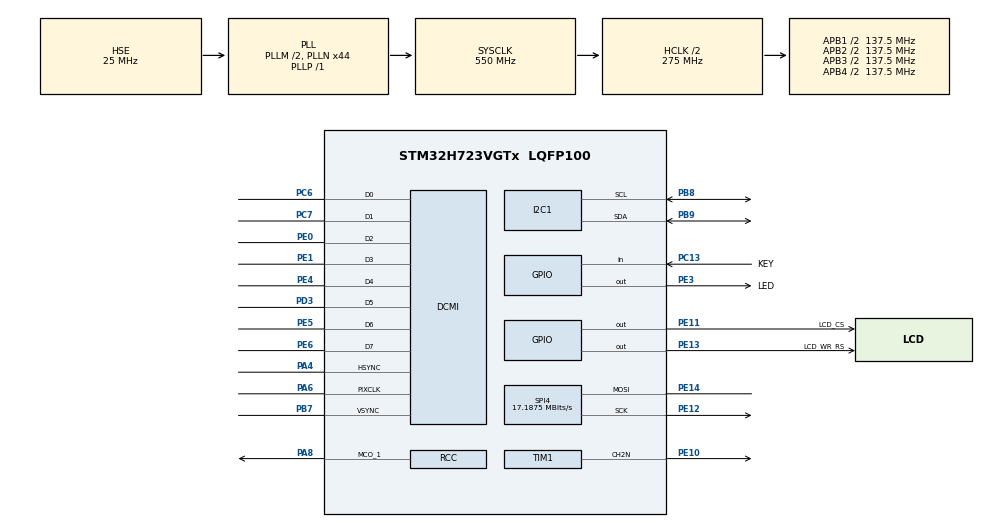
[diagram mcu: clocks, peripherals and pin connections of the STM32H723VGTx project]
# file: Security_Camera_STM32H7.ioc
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CORTEX_M7.CPU_DCache=Disabled
CORTEX_M7.CPU_ICache=Disabled
CORTEX_M7.MPU_Control=__NULL
DCMI.CaptureRate=DCMI_CR_ALL_FRAME
DCMI.PCKPolarity=DCMI_PCKPOLARITY_RISING
Dma.DCMI.0.Direction=DMA_PERIPH_TO_MEMORY
Dma.DCMI.0.EventEnable=DISABLE
Dma.DCMI.0.FIFOMode=DMA_FIFOMODE_DISABLE
Dma.DCMI.0.Instance=DMA1_Stream0
Dma.DCMI.0.MemDataAlignment=DMA_MDATAALIGN_WORD
Dma.DCMI.0.MemInc=DMA_MINC_ENABLE
Dma.DCMI.0.Mode=DMA_CIRCULAR
Dma.DCMI.0.PeriphDataAlignment=DMA_PDATAALIGN_WORD
Dma.DCMI.0.PeriphInc=DMA_PINC_DISABLE
Dma.DCMI.0.Polarity=HAL_DMAMUX_REQ_GEN_RISING
Dma.DCMI.0.Priority=DMA_PRIORITY_MEDIUM
Dma.DCMI.0.RequestNumber=1
Dma.DCMI.0.SignalID=NONE
Dma.DCMI.0.SyncEnable=DISABLE
Dma.DCMI.0.SyncPolarity=HAL_DMAMUX_SYNC_NO_EVENT
Dma.DCMI.0.SyncRequestNumber=1
Dma.DCMI.0.SyncSignalID=NONE
Dma.Request0=DCMI
I2C1.Timing=0x60404E72
Mcu.Family=STM32H7
Mcu.Name=STM32H723VGTx
Mcu.Package=LQFP100
NVIC.DCMI_PSSI_IRQn=true\:0\:0\:false\:false\:true\:true\:true\:true
NVIC.DMA1_Stream0_IRQn=true\:0\:0\:false\:false\:true\:false\:true\:true
NVIC.PriorityGroup=NVIC_PRIORITYGROUP_4
PA13(JTMS/SWDIO).Mode=Serial_Wire
PA13(JTMS/SWDIO).Signal=DEBUG_JTMS-SWDIO
PA14(JTCK/SWCLK).Mode=Serial_Wire
PA14(JTCK/SWCLK).Signal=DEBUG_JTCK-SWCLK
PA4.Mode=Slave_8_bits_External_Synchro
PA4.Signal=DCMI_HSYNC
PA6.Mode=Slave_8_bits_External_Synchro
PA6.Signal=DCMI_PIXCLK
PA8.Mode=Clock-out-1
PA8.Signal=RCC_MCO_1
PB7.Mode=Slave_8_bits_External_Synchro
PB7.Signal=DCMI_VSYNC
PB8.Mode=I2C
PB8.Signal=I2C1_SCL
PB9.Mode=I2C
PB9.Signal=I2C1_SDA
PC13.GPIO_Label=KEY
PC13.Signal=GPIO_Input
PC14-OSC32_IN.Mode=LSE-External-Oscillator
PC14-OSC32_IN.Signal=RCC_OSC32_IN
PC15-OSC32_OUT.Mode=LSE-External-Oscillator
PC15-OSC32_OUT.Signal=RCC_OSC32_OUT
PC6.Mode=Slave_8_bits_External_Synchro
PC6.Signal=DCMI_D0
PC7.Mode=Slave_8_bits_External_Synchro
PC7.Signal=DCMI_D1
PD3.Mode=Slave_8_bits_External_Synchro
PD3.Signal=DCMI_D5
PE0.Mode=Slave_8_bits_External_Synchro
PE0.Signal=DCMI_D2
PE1.Mode=Slave_8_bits_External_Synchro
PE1.Signal=DCMI_D3
PE10.Mode=PWM Generation2 CH2N
PE10.Signal=TIM1_CH2N
PE11.GPIO_Label=LCD_CS
PE11.GPIO_Speed=GPIO_SPEED_FREQ_MEDIUM
PE11.Signal=GPIO_Output
PE12.GPIO_Speed=GPIO_SPEED_FREQ_MEDIUM
PE12.Mode=Simplex_Bidirectional_Master
PE12.Signal=SPI4_SCK
PE13.GPIO_Label=LCD_WR_RS
PE13.GPIO_Speed=GPIO_SPEED_FREQ_MEDIUM
PE13.Signal=GPIO_Output
PE14.GPIO_Speed=GPIO_SPEED_FREQ_MEDIUM
PE14.Mode=Simplex_Bidirectional_Master
PE14.Signal=SPI4_MOSI
PE3.GPIO_Label=LED
PE3.Signal=GPIO_Output
PE4.Mode=Slave_8_bits_External_Synchro
PE4.Signal=DCMI_D4
PE5.Mode=Slave_8_bits_External_Synchro
PE5.Signal=DCMI_D6
PE6.Mode=Slave_8_bits_External_Synchro
PE6.Signal=DCMI_D7
PH0-OSC_IN.Mode=HSE-External-Oscillator
PH0-OSC_IN.Signal=RCC_OSC_IN
PH1-OSC_OUT.Mode=HSE-External-Oscillator
PH1-OSC_OUT.Signal=RCC_OSC_OUT
ProjectManager.HeapSize=0x200
ProjectManager.StackSize=0x400
ProjectManager.TargetToolchain=STM32CubeIDE
RCC.ADCFreq_Value=50390625
RCC.APB1Freq_Value=137500000
RCC.APB2Freq_Value=137500000
RCC.APB3Freq_Value=137500000
RCC.APB4Freq_Value=137500000
RCC.CortexFreq_Value=550000000
RCC.D1PPRE=RCC_APB3_DIV2
RCC.D2PPRE1=RCC_APB1_DIV2
RCC.D2PPRE2=RCC_APB2_DIV2
RCC.D3PPRE=RCC_APB4_DIV2
RCC.DIVM1=2
RCC.DIVN1=44
RCC.DIVP1=1
RCC.DIVQ1=46
RCC.HCLKFreq_Value=275000000
RCC.HPRE=RCC_HCLK_DIV2
RCC.PLLFRACN=0
RCC.PLLSourceVirtual=RCC_PLLSOURCE_HSE
RCC.RCC_MCO1Source=RCC_MCO1SOURCE_HSI48
RCC.RCC_MCODiv1=RCC_MCODIV_4
RCC.RTCClockSelection=RCC_RTCCLKSOURCE_LSE
RCC.SYSCLKFreq_VALUE=550000000
RCC.SYSCLKSource=RCC_SYSCLKSOURCE_PLLCLK
RCC.USBFreq_Value=11956521.739130436
SPI4.BaudRatePrescaler=SPI_BAUDRATEPRESCALER_8
SPI4.CalculateBaudRate=17.1875 MBits/s
SPI4.DataSize=SPI_DATASIZE_8BIT
SPI4.Direction=SPI_DIRECTION_1LINE
SPI4.Mode=SPI_MODE_MASTER
SPI4.VirtualType=VM_MASTER
TIM1.Channel-PWM\ Generation2\ CH2N=TIM_CHANNEL_2
TIM1.OCNPolarity_2=TIM_OCNPOLARITY_LOW
TIM1.Period=1000-1
TIM1.Prescaler=14-1
VP_MEMORYMAP_VS_MEMORYMAP.Mode=CurAppReg
VP_RTC_VS_RTC_Activate.Mode=RTC_Enabled
VP_RTC_VS_RTC_Calendar.Mode=RTC_Calendar
board=custom

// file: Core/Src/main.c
/* USER CODE BEGIN Header */

/*---------------------------------------
- WeAct Studio Official Link
- taobao: weactstudio.taobao.com
- aliexpress: weactstudio.aliexpress.com
- github: github.com/WeActTC
- gitee: gitee.com/WeAct-TC
- blog: www.weact-tc.cn
---------------------------------------*/

/**
  ******************************************************************************
  * @file           : main.c
  * @brief          : Main program body
  ******************************************************************************
  * @attention
  *
  * Copyright (c) 2023 STMicroelectronics.
  * All rights reserved.
  *
  * This software is licensed under terms that can be found in the LICENSE file
  * in the root directory of this software component.
  * If no LICENSE file comes with this software, it is provided AS-IS.
  *
  ******************************************************************************
  */
/* USER CODE END Header */
#include "main.h"
#include "dcmi.h"
#include "dma.h"
#include "i2c.h"
#include "rtc.h"
#include "spi.h"
#include "tim.h"
#include "gpio.h"

/* USER CODE BEGIN Includes */
#include "menu.h"
/* USER CODE END Includes */

/* USER CODE BEGIN PV */
#ifdef TFT96
// QQVGA
#define FrameWidth 160
#define FrameHeight 120
#elif TFT18
// QQVGA2
#define FrameWidth 128
#define FrameHeight 160
#endif
// picture buffer
uint16_t pic[FrameWidth][FrameHeight];
volatile uint32_t DCMI_FrameIsReady = 0;
uint32_t Camera_FPS=0;
/* USER CODE END PV */

void SystemClock_Config(void);

/* USER CODE BEGIN 0 */
static void CPU_CACHE_Enable(void)
{
  /* Enable I-Cache */
  SCB_EnableICache();

  /* Enable D-Cache */
  SCB_EnableDCache();
}

static void MPU_Config(void)
{
  MPU_Region_InitTypeDef MPU_InitStruct = {0};

  /* Disables the MPU */
  HAL_MPU_Disable();

  /* Configure the MPU attributes for the QSPI 256MB without instruction access */
  MPU_InitStruct.Enable           = MPU_REGION_ENABLE;
  MPU_InitStruct.Number           = MPU_REGION_NUMBER0;
  MPU_InitStruct.BaseAddress      = OCTOSPI1_BASE;
  MPU_InitStruct.Size             = MPU_REGION_SIZE_256MB;
  MPU_InitStruct.AccessPermission = MPU_REGION_NO_ACCESS;
  MPU_InitStruct.IsBufferable     = MPU_ACCESS_NOT_BUFFERABLE;
  MPU_InitStruct.IsCacheable      = MPU_ACCESS_NOT_CACHEABLE;
  MPU_InitStruct.IsShareable      = MPU_ACCESS_NOT_SHAREABLE;
  MPU_InitStruct.DisableExec      = MPU_INSTRUCTION_ACCESS_DISABLE;
  MPU_InitStruct.TypeExtField     = MPU_TEX_LEVEL1;
  MPU_InitStruct.SubRegionDisable = 0x00;
  HAL_MPU_ConfigRegion(&MPU_InitStruct);

  /* Configure the MPU attributes for the QSPI 8MB (QSPI Flash Size) to Cacheable WT */
  MPU_InitStruct.Enable           = MPU_REGION_ENABLE;
  MPU_InitStruct.Number           = MPU_REGION_NUMBER1;
  MPU_InitStruct.BaseAddress      = OCTOSPI1_BASE;
  MPU_InitStruct.Size             = MPU_REGION_SIZE_8MB;
  MPU_InitStruct.AccessPermission = MPU_REGION_PRIV_RO;
  MPU_InitStruct.IsBufferable     = MPU_ACCESS_BUFFERABLE;
  MPU_InitStruct.IsCacheable      = MPU_ACCESS_CACHEABLE;
  MPU_InitStruct.IsShareable      = MPU_ACCESS_NOT_SHAREABLE;
  MPU_InitStruct.DisableExec      = MPU_INSTRUCTION_ACCESS_ENABLE;
  MPU_InitStruct.TypeExtField     = MPU_TEX_LEVEL1;
  MPU_InitStruct.SubRegionDisable = 0x00;
  HAL_MPU_ConfigRegion(&MPU_InitStruct);

  /* Setup AXI SRAM in Cacheable WB */
  MPU_InitStruct.Enable           = MPU_REGION_ENABLE;
  MPU_InitStruct.BaseAddress      = D1_AXISRAM_BASE;
  MPU_InitStruct.Size             = MPU_REGION_SIZE_512KB;
  MPU_InitStruct.AccessPermission = MPU_REGION_FULL_ACCESS;
  MPU_InitStruct.IsBufferable     = MPU_ACCESS_BUFFERABLE;
  MPU_InitStruct.IsCacheable      = MPU_ACCESS_CACHEABLE;
  MPU_InitStruct.IsShareable      = MPU_ACCESS_SHAREABLE;
  MPU_InitStruct.Number           = MPU_REGION_NUMBER2;
  MPU_InitStruct.TypeExtField     = MPU_TEX_LEVEL1;
  MPU_InitStruct.SubRegionDisable = 0x00;
  MPU_InitStruct.DisableExec      = MPU_INSTRUCTION_ACCESS_ENABLE;
  HAL_MPU_ConfigRegion(&MPU_InitStruct);

  /* Enables the MPU */
  HAL_MPU_Enable(MPU_PRIVILEGED_DEFAULT);
}
/* USER CODE END 0 */

int main(void)
{

  /* USER CODE BEGIN 1 */
  MPU_Config();
  /* USER CODE END 1 */

  /* MCU Configuration--------------------------------------------------------*/

  /* Reset of all peripherals, Initializes the Flash interface and the Systick. */
  HAL_Init();

  /* Configure the system clock */
  SystemClock_Config();

  /* USER CODE BEGIN SysInit */
  CPU_CACHE_Enable();

  /* USER CODE END SysInit */

  /* Initialize all configured peripherals */
  MX_GPIO_Init();
  MX_DMA_Init();
  MX_DCMI_Init();
  MX_I2C1_Init();
  MX_RTC_Init();
  MX_SPI4_Init();
  MX_TIM1_Init();
  /* USER CODE BEGIN 2 */
  //board_button_init();
  //board_led_init();
  Menu_InitWrapper();
  /* USER CODE END 2 */

  /* Infinite loop */
  /* USER CODE BEGIN WHILE */
  while (1)
  {
	  Menu_Loop();
    /* USER CODE END WHILE */

    }
  }

void SystemClock_Config(void)
{
  RCC_OscInitTypeDef RCC_OscInitStruct = {0};
  RCC_ClkInitTypeDef RCC_ClkInitStruct = {0};

  /** Supply configuration update enable
  */
  HAL_PWREx_ConfigSupply(PWR_LDO_SUPPLY);

  /** Configure the main internal regulator output voltage
  */
  __HAL_PWR_VOLTAGESCALING_CONFIG(PWR_REGULATOR_VOLTAGE_SCALE0);

  while(!__HAL_PWR_GET_FLAG(PWR_FLAG_VOSRDY)) {}

  /** Configure LSE Drive Capability
  */
  HAL_PWR_EnableBkUpAccess();
  __HAL_RCC_LSEDRIVE_CONFIG(RCC_LSEDRIVE_LOW);

  /** Initializes the RCC Oscillators according to the specified parameters
  * in the RCC_OscInitTypeDef structure.
  */
  RCC_OscInitStruct.OscillatorType = RCC_OSCILLATORTYPE_HSI48|RCC_OSCILLATORTYPE_HSE
                              |RCC_OSCILLATORTYPE_LSE;
  RCC_OscInitStruct.HSEState = RCC_HSE_ON;
  RCC_OscInitStruct.LSEState = RCC_LSE_ON;
  RCC_OscInitStruct.HSI48State = RCC_HSI48_ON;
  RCC_OscInitStruct.PLL.PLLState = RCC_PLL_ON;
  RCC_OscInitStruct.PLL.PLLSource = RCC_PLLSOURCE_HSE;
  RCC_OscInitStruct.PLL.PLLM = 2;
  RCC_OscInitStruct.PLL.PLLN = 44;
  RCC_OscInitStruct.PLL.PLLP = 1;
  RCC_OscInitStruct.PLL.PLLQ = 46;
  RCC_OscInitStruct.PLL.PLLR = 2;
  RCC_OscInitStruct.PLL.PLLRGE = RCC_PLL1VCIRANGE_3;
  RCC_OscInitStruct.PLL.PLLVCOSEL = RCC_PLL1VCOWIDE;
  RCC_OscInitStruct.PLL.PLLFRACN = 0;
  if (HAL_RCC_OscConfig(&RCC_OscInitStruct) != HAL_OK)
  {
    Error_Handler();
  }

  /** Initializes the CPU, AHB and APB buses clocks
  */
  RCC_ClkInitStruct.ClockType = RCC_CLOCKTYPE_HCLK|RCC_CLOCKTYPE_SYSCLK
                              |RCC_CLOCKTYPE_PCLK1|RCC_CLOCKTYPE_PCLK2
                              |RCC_CLOCKTYPE_D3PCLK1|RCC_CLOCKTYPE_D1PCLK1;
  RCC_ClkInitStruct.SYSCLKSource = RCC_SYSCLKSOURCE_PLLCLK;
  RCC_ClkInitStruct.SYSCLKDivider = RCC_SYSCLK_DIV1;
  RCC_ClkInitStruct.AHBCLKDivider = RCC_HCLK_DIV2;
  RCC_ClkInitStruct.APB3CLKDivider = RCC_APB3_DIV2;
  RCC_ClkInitStruct.APB1CLKDivider = RCC_APB1_DIV2;
  RCC_ClkInitStruct.APB2CLKDivider = RCC_APB2_DIV2;
  RCC_ClkInitStruct.APB4CLKDivider = RCC_APB4_DIV2;

  if (HAL_RCC_ClockConfig(&RCC_ClkInitStruct, FLASH_LATENCY_3) != HAL_OK)
  {
    Error_Handler();
  }
  HAL_RCC_MCOConfig(RCC_MCO1, RCC_MCO1SOURCE_HSI48, RCC_MCODIV_4);
}

/* USER CODE BEGIN 4 */
void HAL_DCMI_FrameEventCallback(DCMI_HandleTypeDef *hdcmi)
{
	static uint32_t count = 0,tick = 0;

	if(HAL_GetTick() - tick >= 1000)
	{
		tick = HAL_GetTick();
		Camera_FPS = count;
		count = 0;
	}
	count ++;

  DCMI_FrameIsReady ++;
}
/* USER CODE END 4 */

void Error_Handler(void)
{
  __disable_irq();
  while (1)
  {
  }
}
